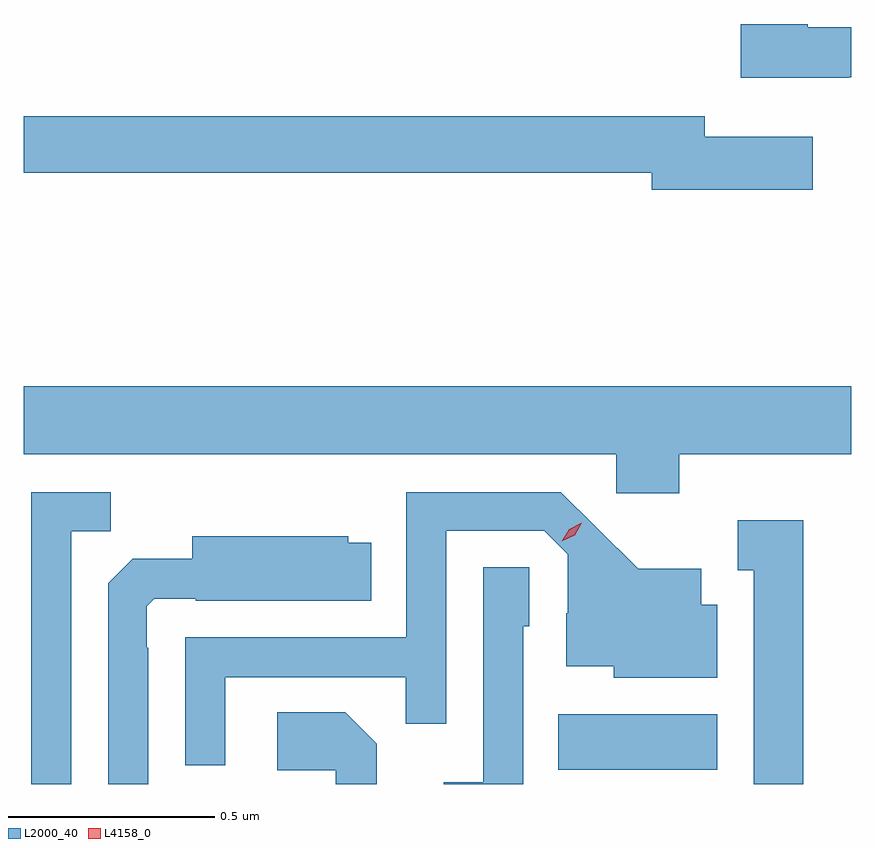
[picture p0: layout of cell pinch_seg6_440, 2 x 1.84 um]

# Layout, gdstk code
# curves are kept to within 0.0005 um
import gdstk
lib = gdstk.Library(unit=1e-6, precision=1e-09)
def R(c, l, rs):  # rectangles x0, y0, x1, y1
    for r in rs: c.add(gdstk.rectangle(r[:2], r[2:], *l))
def P(c, l, *ps):  # polygons
    for p in ps: c.add(gdstk.Polygon(p, *l))
L2000_40 = (2000, 40)
L4158_0 = (4158, 0)

pinch_seg6_440 = lib.new_cell('pinch_seg6_440')
R(pinch_seg6_440, L2000_40, [(731.218,923.93,731.602,924.064)])
P(pinch_seg6_440, L2000_40, [(731.92,925.602),(731.926,925.602),(731.926,925.723),(731.82,925.723),(731.82,925.731),(731.658,925.731),(731.658,925.601),(731.92,925.601)],
  [(731.833,925.459),(731.572,925.459),(731.572,925.508),(729.926,925.508),(729.926,925.372),(731.444,925.372),(731.444,925.33),(731.833,925.33)],
  [(731.51,924.692),(731.926,924.692),(731.926,924.856),(729.926,924.856),(729.926,924.692),(731.358,924.692),(731.358,924.597),(731.51,924.597)],
  [(730.413,924.153),(730.849,924.153),(730.849,924.04),(730.947,924.04),(730.947,924.507),(731.184,924.507),(731.241,924.45),(731.241,924.308),(731.237,924.308),(731.237,924.179),(731.352,924.179),(731.352,924.152),(731.602,924.152),(731.602,924.328),(731.563,924.328),(731.563,924.415),(731.411,924.415),(731.224,924.6),(730.851,924.6),(730.851,924.249),(730.317,924.249),(730.317,923.94),(730.413,923.94)],
  [(730.041,924.505),(730.137,924.505),(730.137,924.6),(729.945,924.6),(729.945,923.895),(730.041,923.895)],
  [(731.809,924.532),(731.651,924.532),(731.651,924.411),(731.69,924.411),(731.69,923.895),(731.809,923.895)],
  [(730.227,924.224),(730.224,924.224),(730.224,924.324),(730.242,924.342),(730.342,924.342),(730.342,924.338),(730.766,924.338),(730.766,924.478),(730.71,924.478),(730.71,924.493),(730.334,924.493),(730.334,924.439),(730.19,924.439),(730.131,924.38),(730.131,923.895),(730.227,923.895)],
  [(731.133,924.276),(731.148,924.276),(731.148,924.419),(731.037,924.419),(731.037,923.899),(730.941,923.899),(730.941,923.895),(731.133,923.895)],
  [(730.779,923.992),(730.703,924.068),(730.539,924.068),(730.539,923.928),(730.68,923.928),(730.68,923.895),(730.779,923.895)])
P(pinch_seg6_440, L4158_0, [(731.226,924.481),(731.226,924.481),(731.244,924.511),(731.275,924.526),(731.275,924.526),(731.275,924.526),(731.257,924.496),(731.226,924.481)])

lib.write_gds('pinch_seg6_440.gds')
